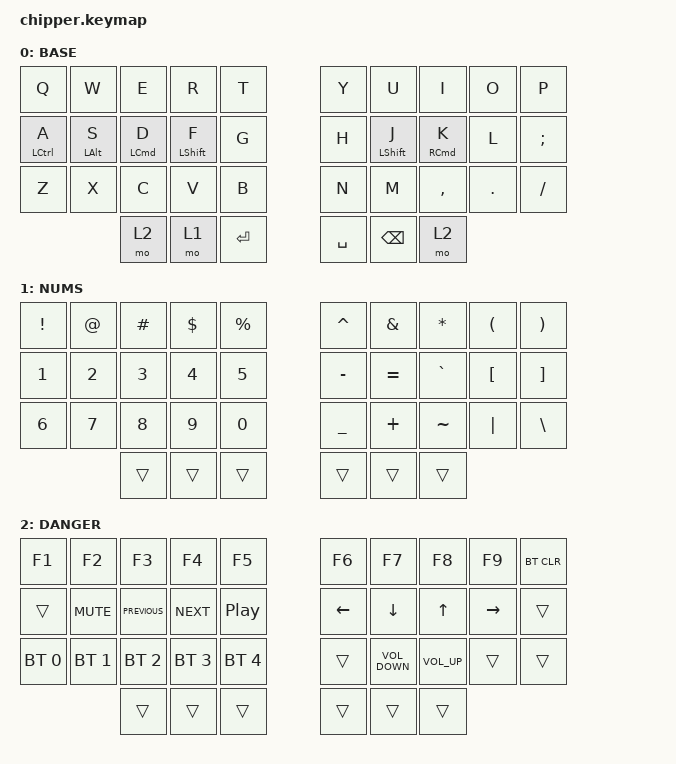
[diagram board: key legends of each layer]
#include <behaviors.dtsi>
#include <dt-bindings/zmk/bt.h>
#include <dt-bindings/zmk/keys.h>

#include "zmk-helpers/helper.h"

#define HM_TAPPING_TERM 280
#define HM_TAPPING_TERM_FAST 175
#define HM_PRIOR_IDLE 150

#define COMBO_TERM_FAST 35
#define COMBO_TERM_SLOW 40
#define COMBO_PRIOR_IDLE 100

#define BASE 0
#define NUMS 1
#define DANGER 2

/* use helper macros to define left and right hand keys */
#include "zmk-helpers/key-labels/36.h"                                      // key-position labels
#define KEYS_L LT0 LT1 LT2 LT3 LT4 LM0 LM1 LM2 LM3 LM4 LB0 LB1 LB2 LB3 LB4  // left-hand keys
#define KEYS_R RT0 RT1 RT2 RT3 RT4 RM0 RM1 RM2 RM3 RM4 RB0 RB1 RB2 RB3 RB4  // right-hand keys
#define KEYS_T                 LH2 LH1 LH0 RH0 RH1 RH2                                      // thumb keys

/ {
    behaviors {

        // Positional Homerow mods
        // Homerow mods that prevent accidental activations when rolling keys,
        // such as when typing `st` or `ne` on colemak-dh layouts or `as` on
        // qwerty.
        //
        // Works by only allowing a mod to activate within tapping-term if
        // it's on the opposite side of the keyboard or on the same side thumb
        // keys.

        // Further optimization using urob's timerless homerow mods method:
        // https://github.com/urob/zmk-config#timeless-homerow-mods
        hm_l: homerow_mods_left {
            compatible = "zmk,behavior-hold-tap";
            #binding-cells = <2>;
            bindings = <&kp>,  <&kp>;

            flavor = "balanced";
            tapping-term-ms = <HM_TAPPING_TERM>;
            quick-tap-ms = <175>;                // repeat on tap-into-hold
            require-prior-idle-ms = <HM_PRIOR_IDLE>;

            hold-trigger-key-positions = <KEYS_R KEYS_T>;
            hold-trigger-on-release;
        };

        hm_r: homerow_mods_right {
            compatible = "zmk,behavior-hold-tap";
            #binding-cells = <2>;
            bindings = <&kp>, <&kp>;

            flavor = "balanced";
            tapping-term-ms = <HM_TAPPING_TERM>;
            quick-tap-ms = <175>;
            require-prior-idle-ms = <HM_PRIOR_IDLE>;

            hold-trigger-key-positions = <KEYS_L KEYS_T>;
            hold-trigger-on-release;
        };


        // Positional Homerow mods for shift
        // Use faster tapping term and disable some features that may
        // cause false negatives.
        hm_shift_l: hm_shift_l {
            compatible = "zmk,behavior-hold-tap";
            #binding-cells = <2>;
            bindings = <&kp>, <&kp>;

            flavor = "balanced";
            tapping-term-ms = <HM_TAPPING_TERM_FAST>;
            quick-tap-ms = <175>;
            require-prior-idle-ms = <HM_PRIOR_IDLE>;

            hold-trigger-key-positions = <KEYS_R KEYS_T>;
            // hold-trigger-on-release;
        };

        hm_shift_r: hm_shift_r {
            compatible = "zmk,behavior-hold-tap";
            #binding-cells = <2>;
            bindings = <&kp>, <&kp>;

            flavor = "balanced";
            tapping-term-ms = <HM_TAPPING_TERM_FAST>;
            quick-tap-ms = <175>;
            require-prior-idle-ms = <HM_PRIOR_IDLE>;

            hold-trigger-key-positions = <KEYS_L KEYS_T>;
            // hold-trigger-on-release;
        };

        /*
         * Non-Positional Homerow Mods
         * Used for &mm_grescm_gui behavior on left hand.
         *
         * Usage: &hm LSHFT T
         * Tap: T
         * Tap-Tap-Hold: Repeat T
         * Hold: LSHIFT
         */
        hm: homerow_mods {
            compatible = "zmk,behavior-hold-tap";
            #binding-cells = <2>;
            bindings = <&kp>, <&kp>;

            flavor = "balanced";
            tapping-term-ms = <HM_TAPPING_TERM>;
            quick-tap-ms = <200>;
        };

    };

    combos {
        compatible = "zmk,combos";

        escape {
            timeout-ms = <COMBO_TERM_FAST>;
            require-prior-idle-ms = <COMBO_PRIOR_IDLE>;
            bindings = <&kp ESCAPE>;
            key-positions = <26 27>;
        };

        tab {
            timeout-ms = <COMBO_TERM_FAST>;
            require-prior-idle-ms = <COMBO_PRIOR_IDLE>;
            bindings = <&kp TAB>;
            key-positions = <27 28>;
        };

        grave {
            timeout-ms = <COMBO_TERM_FAST>;
            require-prior-idle-ms = <COMBO_PRIOR_IDLE>;
            bindings = <&kp GRAVE>;
            key-positions = <29 28>;
        };

        escapeleft {
            timeout-ms = <COMBO_TERM_FAST>;
            require-prior-idle-ms = <COMBO_PRIOR_IDLE>;
            bindings = <&kp ESCAPE>;
            key-positions = <1 0>;
        };

        undo {
            timeout-ms = <COMBO_TERM_FAST>;
            require-prior-idle-ms = <COMBO_PRIOR_IDLE>;
            bindings = <&kp LG(Z)>;
            key-positions = <21 20>;
        };

        quote {
            timeout-ms = <COMBO_TERM_FAST>;
            require-prior-idle-ms = <COMBO_PRIOR_IDLE>;
            bindings = <&kp SINGLE_QUOTE>;
            key-positions = <19 18>;
        };

        cut {
            timeout-ms = <COMBO_TERM_FAST>;
            require-prior-idle-ms = <COMBO_PRIOR_IDLE>;
            bindings = <&kp LG(X)>;
            key-positions = <22 21>;
        };

        copy {
            timeout-ms = <COMBO_TERM_FAST>;
            require-prior-idle-ms = <COMBO_PRIOR_IDLE>;
            bindings = <&kp LG(C)>;
            key-positions = <23 22>;
        };

        paste {
            timeout-ms = <COMBO_TERM_FAST>;
            require-prior-idle-ms = <COMBO_PRIOR_IDLE>;
            bindings = <&kp LG(V)>;
            key-positions = <24 23>;
        };

        escapecombo {
            timeout-ms = <COMBO_TERM_FAST>;
            require-prior-idle-ms = <COMBO_PRIOR_IDLE>;
            bindings = <&kp ESCAPE>;
            key-positions = <14 15>;
        };
    };

    keymap {
        compatible = "zmk,keymap";

        default_layer {
            display-name = "BASE";
            bindings = <
 // ╭────────────────────┬────────────────────┬────────────────────┬────────────────────┬────────────────────╮    ╭────────────────────┬────────────────────┬────────────────────┬────────────────────┬────────────────────╮
    &kp Q                &kp W                &kp E                &kp R                &kp T                     &kp Y                &kp U                &kp I                &kp O                &kp P
 // ├────────────────────┼────────────────────┼────────────────────┼────────────────────┼────────────────────┤    ├────────────────────┼────────────────────┼────────────────────┼────────────────────┼────────────────────┤
    &hm_l LEFT_CONTROL A &hm_l LEFT_ALT S     &hm_l LEFT_COMMAND D &hm_shift_l LEFT_SHIFT F &kp G                     &kp H                &hm_shift_r LEFT_SHIFT J &hm_r RIGHT_COMMAND K &kp L                &kp SEMI
 // ├────────────────────┼────────────────────┼────────────────────┼────────────────────┼────────────────────┤    ├────────────────────┼────────────────────┼────────────────────┼────────────────────┼────────────────────┤
    &kp Z                &kp X                &kp C                &kp V                &kp B                     &kp N                &kp M                &kp COMMA            &kp DOT              &kp SLASH
 // ╰────────────────────┴────────────────────┼────────────────────┼────────────────────┼────────────────────┤    ├────────────────────┼────────────────────┼────────────────────┼────────────────────┴────────────────────╯
                                              &mo 2                &mo 1                &kp ENTER                 &kp SPACE            &kp BACKSPACE        &mo 2
 //                                           ╰────────────────────┴────────────────────┴────────────────────╯    ╰────────────────────┴────────────────────┴────────────────────╯
            >;
        };

        raise_layer {
            display-name = "NUMS";
            bindings = <
// ╭────────────────────┬────────────────────┬────────────────────┬────────────────────┬────────────────────╮    ╭────────────────────┬────────────────────┬────────────────────┬────────────────────┬────────────────────╮
   &kp EXCL             &kp AT               &kp HASH             &kp DLLR             &kp PRCNT                 &kp CARET             &kp AMPS             &kp ASTRK            &kp LPAR             &kp RPAR
// ├────────────────────┼────────────────────┼────────────────────┼────────────────────┼────────────────────┤    ├────────────────────┼────────────────────┼────────────────────┼────────────────────┼────────────────────┤
   &kp NUMBER_1         &kp NUMBER_2         &kp NUMBER_3         &kp NUMBER_4         &kp NUMBER_5              &kp MINUS             &kp EQUAL            &kp GRAVE            &kp LEFT_BRACKET     &kp RIGHT_BRACKET
// ├────────────────────┼────────────────────┼────────────────────┼────────────────────┼────────────────────┤    ├────────────────────┼────────────────────┼────────────────────┼────────────────────┼────────────────────┤
   &kp NUMBER_6         &kp NUMBER_7         &kp NUMBER_8         &kp N9               &kp NUMBER_0              &kp UNDER             &kp PLUS             &kp TILDE            &kp PIPE             &kp BACKSLASH
// ╰────────────────────┴────────────────────├────────────────────┼────────────────────┼────────────────────┤    ├────────────────────┼────────────────────┼────────────────────┼────────────────────┴────────────────────╯
                                              &trans               &trans               &trans                    &trans               &trans               &trans
//                                           ╰────────────────────┴────────────────────┴────────────────────╯    ╰────────────────────┴────────────────────┴────────────────────╯
            >;
        };

        lower_layer {
            display-name = "DANGER";
            bindings = <
// ╭────────────────────┬────────────────────┬────────────────────┬────────────────────┬────────────────────╮    ╭────────────────────┬────────────────────┬────────────────────┬────────────────────┬────────────────────╮
   &kp F1               &kp F2               &kp F3               &kp F4               &kp F5                   &kp F6               &kp F7               &kp F8               &kp F9               &bt BT_CLR
// ├────────────────────┼────────────────────┼────────────────────┼────────────────────┼────────────────────┤    ├────────────────────┼────────────────────┼────────────────────┼────────────────────┼────────────────────┤
   &trans               &kp C_MUTE           &kp C_PREVIOUS       &kp C_NEXT           &kp C_PLAY_PAUSE          &kp LEFT             &kp DOWN             &kp UP               &kp RIGHT            &trans
// ├────────────────────┼────────────────────┼────────────────────┼────────────────────┼────────────────────┤    ├────────────────────┼────────────────────┼────────────────────┼────────────────────┼────────────────────┤
   &bt BT_SEL 0         &bt BT_SEL 1         &bt BT_SEL 2         &bt BT_SEL 3         &bt BT_SEL 4              &trans               &kp C_VOLUME_DOWN    &kp C_VOLUME_UP      &trans               &trans
// ╰────────────────────┴────────────────────┼────────────────────┼────────────────────┼────────────────────┤    ├────────────────────┼────────────────────┼────────────────────┼────────────────────┴────────────────────╯
                                              &trans               &trans               &trans                    &trans               &trans               &trans
//                                           ╰────────────────────┴────────────────────┴────────────────────╯    ╰────────────────────┴────────────────────┴────────────────────╯
            >;
        };
    };
};
